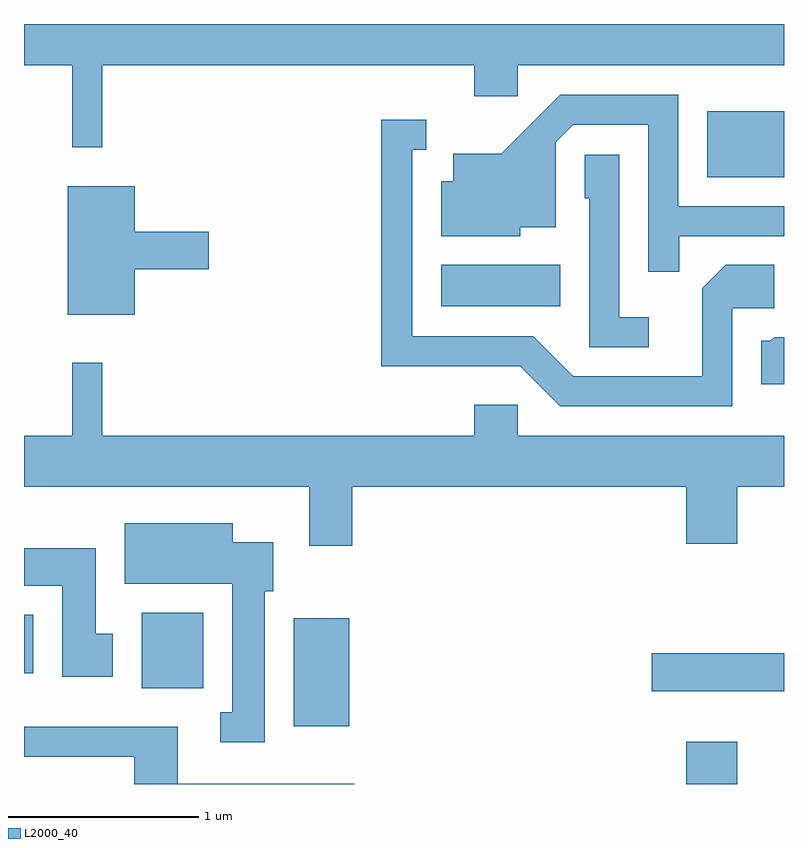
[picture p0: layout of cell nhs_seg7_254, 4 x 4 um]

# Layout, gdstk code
import gdstk
lib = gdstk.Library(unit=1e-6, precision=1e-09)
def R(c, l, rs):  # rectangles x0, y0, x1, y1
    for r in rs: c.add(gdstk.rectangle(r[:2], r[2:], *l))
def P(c, l, *ps):  # polygons
    for p in ps: c.add(gdstk.Polygon(p, *l))
L2000_40 = (2000, 40)

nhs_seg7_254 = lib.new_cell('nhs_seg7_254')
R(nhs_seg7_254, L2000_40, [(195.096,1768.252,195.364,1768.474), (193.031,1768.556,193.324,1769.124), (194.916,1768.741,195.611,1768.939), (192.231,1768.756,192.554,1769.154), (191.611,1768.836,191.659,1769.144), (193.806,1770.766,194.434,1770.984), (195.206,1771.446,195.611,1771.794)])
P(nhs_seg7_254, L2000_40, [(192.024,1772.036),(193.981,1772.036),(193.981,1771.871),(194.209,1771.871),(194.209,1772.036),(195.611,1772.036),(195.611,1772.252),(191.611,1772.252),(191.611,1772.036),(191.866,1772.036),(191.866,1771.603),(192.024,1771.603)],
  [(195.059,1771.136),(195.611,1771.136),(195.611,1771.294),(195.054,1771.294),(195.054,1771.879),(194.434,1771.879),(194.124,1771.569),(193.871,1771.569),(193.871,1771.424),(193.806,1771.424),(193.806,1771.136),(194.224,1771.136),(194.224,1771.181),(194.409,1771.181),(194.409,1771.629),(194.502,1771.721),(194.896,1771.721),(194.896,1770.948),(195.059,1770.948)],
  [(195.339,1770.756),(195.559,1770.756),(195.559,1770.984),(195.304,1770.984),(195.181,1770.862),(195.181,1770.399),(194.502,1770.399),(194.292,1770.609),(193.654,1770.609),(193.654,1771.591),(193.728,1771.591),(193.728,1771.749),(193.491,1771.749),(193.491,1770.451),(194.224,1770.451),(194.434,1770.241),(195.339,1770.241)],
  [(194.898,1770.709),(194.744,1770.709),(194.744,1771.564),(194.561,1771.564),(194.561,1771.336),(194.586,1771.336),(194.586,1770.551),(194.898,1770.551)],
  [(192.194,1770.961),(192.584,1770.961),(192.584,1771.159),(192.194,1771.159),(192.194,1771.399),(191.841,1771.399),(191.841,1770.721),(192.194,1770.721)],
  [(195.611,1770.604),(195.559,1770.604),(195.539,1770.584),(195.491,1770.584),(195.491,1770.356),(195.611,1770.356)],
  [(193.339,1769.816),(195.096,1769.816),(195.096,1769.516),(195.364,1769.516),(195.364,1769.816),(195.611,1769.816),(195.611,1770.084),(194.209,1770.084),(194.209,1770.249),(193.981,1770.249),(193.981,1770.084),(192.024,1770.084),(192.024,1770.468),(191.866,1770.468),(191.866,1770.084),(191.611,1770.084),(191.611,1769.816),(193.111,1769.816),(193.111,1769.506),(193.339,1769.506)],
  [(192.879,1769.266),(192.924,1769.266),(192.924,1769.524),(192.709,1769.524),(192.709,1769.624),(192.141,1769.624),(192.141,1769.306),(192.706,1769.306),(192.706,1768.629),(192.643,1768.629),(192.643,1768.471),(192.879,1768.471)],
  [(192.079,1769.044),(191.989,1769.044),(191.989,1769.494),(191.611,1769.494),(191.611,1769.296),(191.811,1769.296),(191.811,1768.816),(192.079,1768.816)],
  [(193.348,1768.254),(192.419,1768.254),(192.419,1768.554),(191.611,1768.554),(191.611,1768.396),(192.191,1768.396),(192.191,1768.252),(193.348,1768.252)])

lib.write_gds('nhs_seg7_254.gds')
